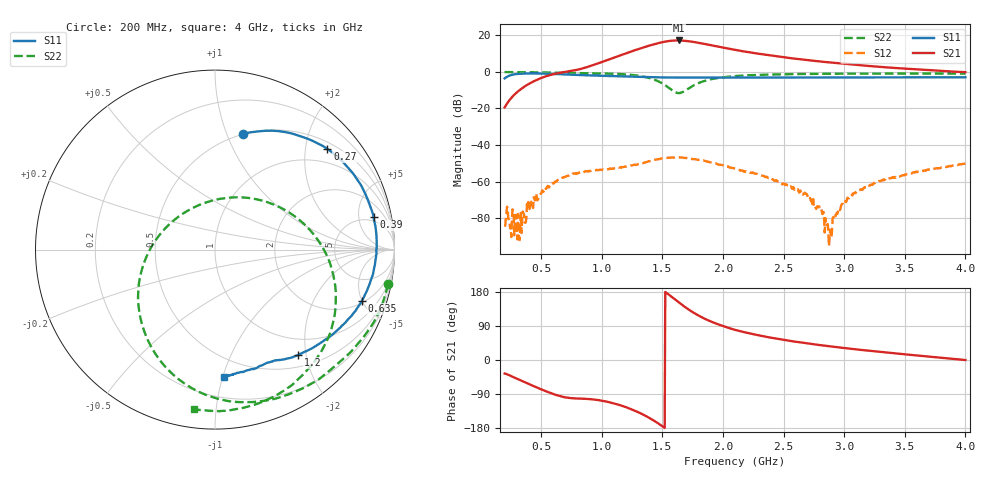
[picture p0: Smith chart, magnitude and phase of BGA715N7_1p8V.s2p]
! Infineon Technologies AG
! BGA715L7 Noise Paramater at Vcc=1.8V and PON=1.8V
! Schematics and reference plane
! Date: Thursday, January 29, 2009
! S2P File: S11, S21, S12, S22
# GHz S MA R 50
!Freq  MagS11  AngS11  MagS21  AngS21  MagS12  AngS12  MagS22  AngS22
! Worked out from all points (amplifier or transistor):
!   761 points, 200 MHz to 4 GHz, reference 50 ohm
!   highest |S21| = 17.1 dB at 1.635 GHz (marker M1)
!   |S21| within 3 dB of that: 1.383 GHz to 1.932 GHz (548.8 MHz wide, 33.1 % of centre)
!   unconditionally stable (mu >= 1): start of sweep to end of sweep
!   at 830 MHz: K = 11.16, MAG = 14.8 dB, |S12| = -54.9 dB
!   at 2.1 GHz: K = 12.25, MAG = 18.5 dB, |S12| = -52.8 dB
!   at 4 GHz: K = 15.15, MAG = 10.1 dB, |S12| = -50.0 dB
!   lowest NFmin = 0.53 dB at 1.575 GHz
!   S11 on the Smith chart (normalised r, x): 200 MHz: 0.50, +1.14; 270 MHz: 0.65, +2.47; 390 MHz: 4.09, +7.83; 635 MHz: 2.16, -4.98; 1.2 GHz: 0.70, -1.85; 4 GHz: 0.35, -1.01
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0.2  0.6622 76.5  0.1066 -35.6  6.526e-05 65.9  0.9823 -11.3
0.27  0.8407 41.9  0.2202 -44.9  0.0001569 16.6  0.9814 -15.4
0.39  0.9012 11.5  0.4481 -62.1  0.000194 -170.1  0.9757 -22.2
0.635  0.8666 -19.3  0.911 -93.3  0.001101 163.4  0.9482 -36.5
0.835  0.8135 -34.1  1.217 -102.0  0.001751 127.1  0.9269 -49.1
1.04  0.7728 -45.0  2.055 -109.7  0.002165 109.8  0.8998 -65.8
1.2  0.7473 -51.8  3.181 -124.3  0.00261 102.4  0.851 -83.8
1.355  0.7241 -57.5  4.749 -146.1  0.003343 93.9  0.7278 -109.7
1.415  0.7149 -59.2  5.45 -156.9  0.003783 88.7  0.6439 -123.9
1.47  0.7069 -60.6  6.097 -168.0  0.004157 80.5  0.5457 -140.6
1.56  0.7006 -62.6  6.949 171.1  0.004556 66.8  0.3544 177.5
1.635  0.6973 -64.1  7.169 152.3  0.004629 53.8  0.2627 116.3
1.715  0.694 -65.7  6.85 133.8  0.004391 40.6  0.3499 54.7
1.8  0.6948 -67.3  6.171 117.2  0.003985 31.5  0.4945 20.1
1.935  0.697 -69.7  5.052 97.2  0.003221 13.5  0.659 -9.4
2.1  0.6964 -72.9  3.974 79.6  0.002291 3.0  0.7654 -29.9
2.375  0.6988 -76.6  2.846 60.2  0.00127 -7.9  0.84 -50.3
2.735  0.6989 -80.2  2.02 42.2  0.0002651 -21.4  0.8781 -66.4
2.9  0.7006 -81.4  1.776 35.3  4.555e-05 177.4  0.886 -71.9
3.065  0.7033 -82.3  1.582 29.2  0.0004427 -174.8  0.8925 -76.5
3.37  0.7069 -83.8  1.309 19.1  0.001228 168.2  0.8983 -83.8
4  0.7097 -86.1  0.9773 -0.1  0.003161 156.5  0.8966 -97.6
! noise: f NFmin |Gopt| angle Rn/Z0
1.575  0.53  0.54  59  0.21
